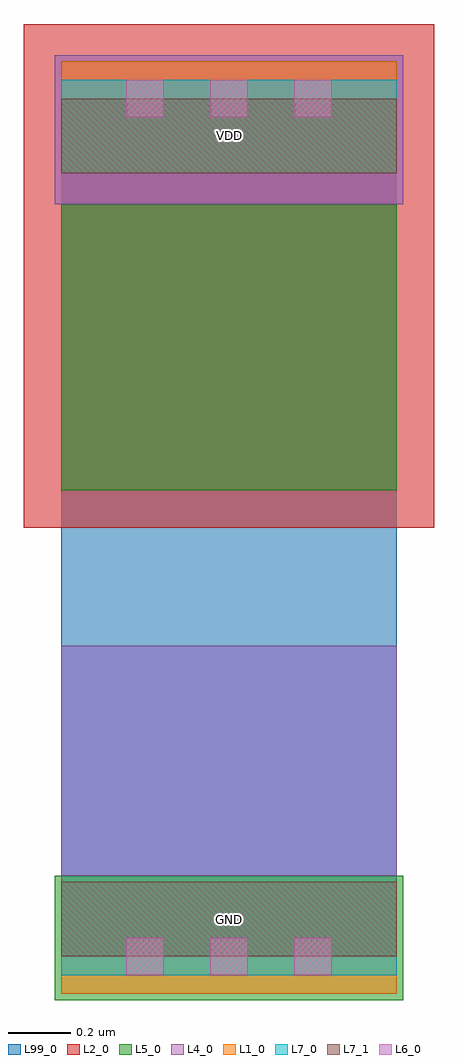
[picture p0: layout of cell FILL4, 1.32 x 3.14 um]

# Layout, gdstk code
import gdstk
lib = gdstk.Library(unit=1e-6, precision=5e-10)
def R(c, l, rs):  # rectangles x0, y0, x1, y1
    for r in rs: c.add(gdstk.rectangle(r[:2], r[2:], *l))
def A(c, l, x, y, w, h, nx, ny, dx, dy):  # array of equal rectangles
    R(c, l, [(x+i*dx, y+j*dy, x+i*dx+w, y+j*dy+h) for i in range(nx) for j in range(ny)])
L1_0 = (1, 0)
L2_0 = (2, 0)
L4_0 = (4, 0)
L5_0 = (5, 0)
L6_0 = (6, 0)
L7_0 = (7, 0)
L7_1 = (7, 1)
L99_0 = (99, 0)

fill4 = lib.new_cell('FILL4')
R(fill4, L1_0, [(0,-0.12,1.08,0.24), (0,2.52,1.08,2.88)])
R(fill4, L2_0, [(-0.12,1.38,1.2,3)])
R(fill4, L4_0, [(0,0.26,1.08,1), (-0.02,2.42,1.1,2.9)])
R(fill4, L5_0, [(-0.02,-0.14,1.1,0.26), (0,1.5,1.08,2.42)])
A(fill4, L6_0, 0.21, -0.06, 0.12, 0.12, 3, 2, 0.27, 2.76)
R(fill4, L7_0, [(0,-0.06,1.08,0.24), (0,2.52,1.08,2.82)])
R(fill4, L7_1, [(0,0,1.08,0.24), (0,2.52,1.08,2.76)])
R(fill4, L99_0, [(0,0,1.08,2.76)])
fill4.add(gdstk.Label('VDD', (0.54,2.64), layer=7, texttype=3))
fill4.add(gdstk.Label('GND', (0.54,0.12), layer=7, texttype=3))

lib.write_gds('FILL4.gds')
